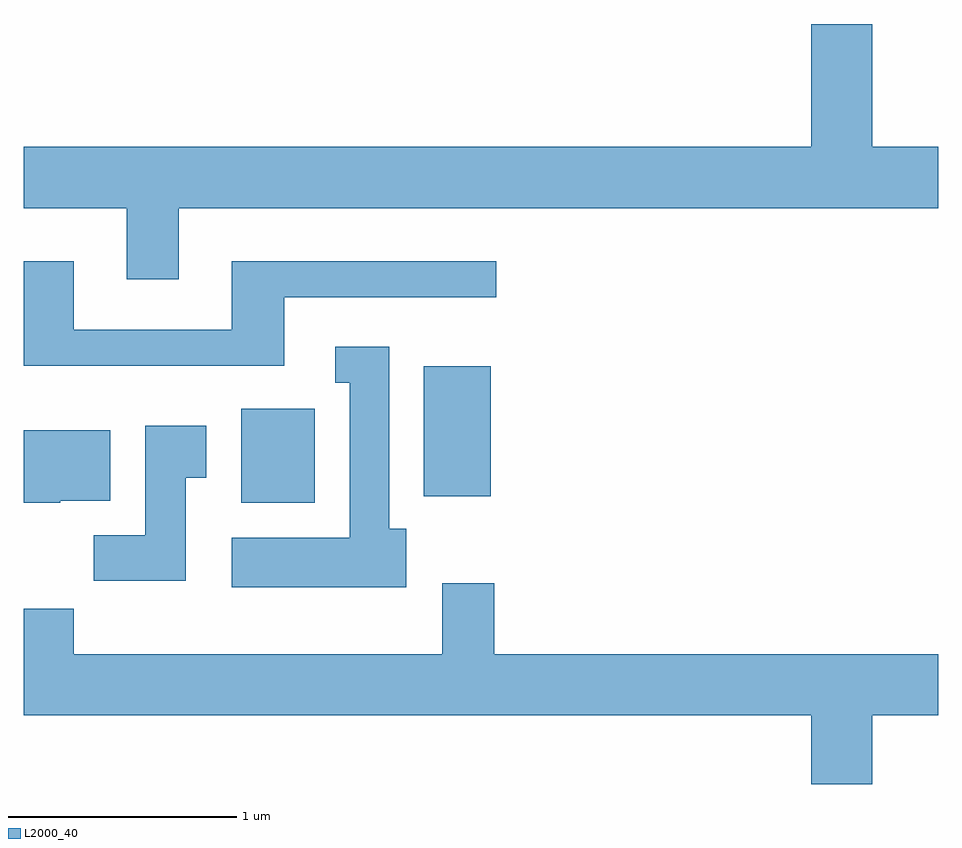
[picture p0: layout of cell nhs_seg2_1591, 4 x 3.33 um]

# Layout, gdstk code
import gdstk
lib = gdstk.Library(unit=1e-6, precision=1e-09)
def R(c, l, rs):  # rectangles x0, y0, x1, y1
    for r in rs: c.add(gdstk.rectangle(r[:2], r[2:], *l))
def P(c, l, *ps):  # polygons
    for p in ps: c.add(gdstk.Polygon(p, *l))
L2000_40 = (2000, 40)

nhs_seg2_1591 = lib.new_cell('nhs_seg2_1591')
R(nhs_seg2_1591, L2000_40, [(232.561,1033.706,232.884,1034.119), (233.361,1033.736,233.654,1034.304)])
P(nhs_seg2_1591, L2000_40, [(232.289,1034.996),(235.611,1034.996),(235.611,1035.264),(235.324,1035.264),(235.324,1035.802),(235.056,1035.802),(235.056,1035.264),(231.611,1035.264),(231.611,1034.996),(232.061,1034.996),(232.061,1034.686),(232.289,1034.686)],
  [(232.749,1034.606),(233.678,1034.606),(233.678,1034.764),(232.521,1034.764),(232.521,1034.464),(231.829,1034.464),(231.829,1034.764),(231.611,1034.764),(231.611,1034.306),(232.749,1034.306)],
  [(233.284,1033.594),(233.209,1033.594),(233.209,1034.389),(232.973,1034.389),(232.973,1034.231),(233.036,1034.231),(233.036,1033.554),(232.521,1033.554),(232.521,1033.336),(233.284,1033.336)],
  [(232.319,1033.816),(232.409,1033.816),(232.409,1034.044),(232.141,1034.044),(232.141,1033.564),(231.916,1033.564),(231.916,1033.366),(232.319,1033.366)],
  [(231.77,1033.716),(231.989,1033.716),(231.989,1034.024),(231.611,1034.024),(231.611,1033.706),(231.77,1033.706)],
  [(235.324,1032.776),(235.611,1032.776),(235.611,1033.044),(233.669,1033.044),(233.669,1033.354),(233.441,1033.354),(233.441,1033.044),(231.829,1033.044),(231.829,1033.244),(231.611,1033.244),(231.611,1032.776),(235.056,1032.776),(235.056,1032.476),(235.324,1032.476)])

lib.write_gds('nhs_seg2_1591.gds')
